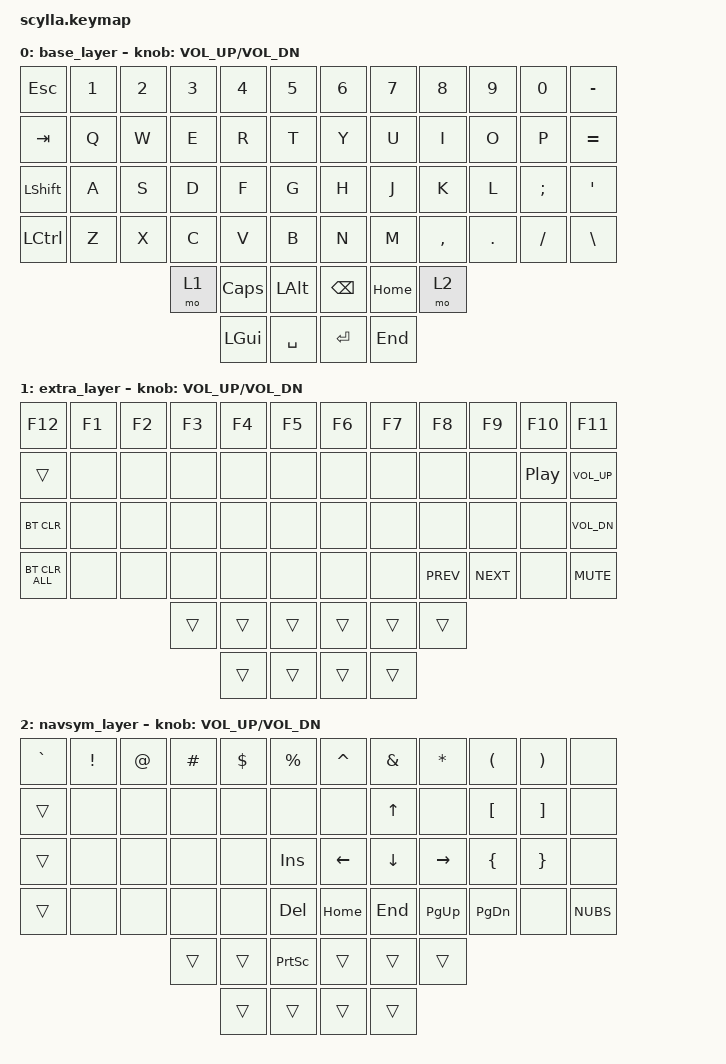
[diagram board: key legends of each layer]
/*
 * Scylla modified keymap.
 */

#include <behaviors.dtsi>
#include <dt-bindings/zmk/keys.h>
#include <dt-bindings/zmk/bt.h>
#include <dt-bindings/zmk/ext_power.h>

#define __NONE__ &none
#define _TRANSP_ &trans

/ {
    keymap {
        compatible = "zmk,keymap";


// □ = no key assigned
// ○ = inherited key
// ■ = layer being pressed

        base_layer {
// .-----------------------------------------.                                  .-----------------------------------------.
// | Esc  |   1  |   2  |   3  |   4  |   5  |                                  |   6  |   7  |   8  |   9  |   0  |  -_  |
// |------+------+------+------+------+------|                                  |------+------+------+------+------+------|
// | Tab  |   Q  |   W  |   E  |   R  |   T  |                                  |   Y  |   U  |   I  |   O  |   P  |  =+  |
// |------+------+------+------+------+------|                                  |------+------+------+------+------+------|
// | Shft |   A  |   S  |   D  |   F  |   G  |                                  |   H  |   J  |   K  |   L  |  ;:  |  '"  |
// |------+------+------+------+------+------|                                  |------+------+------+------+------+------|
// | Ctrl |   Z  |   X  |   C  |   V  |   B  |                                  |   N  |   M  |  <,  |  .>  |  /?  |  \|  |
// '-----------------------------------------/                                  \-----------------------------------------'
//                                   / LOWER /---------------.    .---------------\ RAISE \
//                                  /       /  Caps /  Alt  /      \ Bspc  \ Home  \       \
//                                 '-------/  Lock /       /        \       \       \-------'
//                                        /---------------/          \---------------\
//                                       /  Gui  / Space /            \ Enter \  End  \
//                                      /       /       /              \       \       \
//                                     '---------------'                '---------------'
            bindings = <
&kp ESC     &kp N1  &kp N2  &kp N3     &kp N4     &kp N5         &kp N6    &kp N7    &kp N8     &kp N9   &kp N0    &kp MINUS
&kp TAB     &kp Q   &kp W   &kp E      &kp R      &kp T          &kp Y     &kp U     &kp I      &kp O    &kp P     &kp EQUAL
&kp LSHFT   &kp A   &kp S   &kp D      &kp F      &kp G          &kp H     &kp J     &kp K      &kp L    &kp SEMI  &kp SQT
&kp LCTRL   &kp Z   &kp X   &kp C      &kp V      &kp B          &kp N     &kp M     &kp COMMA  &kp DOT  &kp FSLH  &kp BSLH
                            &mo 1      &kp CAPS   &kp LALT       &kp BSPC  &kp HOME  &mo 2
                                       &kp LGUI   &kp SPACE      &kp RET   &kp END
            >;

            sensor-bindings = <&inc_dec_kp C_VOL_UP C_VOL_DN>;
        };

        extra_layer {
// .-----------------------------------------.                                  .-----------------------------------------.
// |  F12 |  F1  |  F2  |  F3  |  F4  |  F5  |                                  |  F6  |  F7  |  F8  |  F9  |  F10 |  F11 |
// |------+------+------+------+------+------|                                  |------+------+------+------+------+------|
// |   ○  |   □  |   □  |   □  |   □  |   □  |                                  |   □  |   □  |   □  |   □  | Play | VoUp |
// |------+------+------+------+------+------|                                  |------+------+------+------+------+------|
// |BT_CLR|   □  |   □  |   □  |   □  |   □  |                                  |   □  |   □  |   □  |   □  |   □  | VoDn |
// |------+------+------+------+------+------|                                  |------+------+------+------+------+------|
// |BTCLRA|   □  |   □  |   □  |   □  |   □  |                                  |   □  |   □  | Prev | Next |   □  | Mute |
// '-----------------------------------------/                                  \-----------------------------------------'
//                                   /   ■   /---------------.    .---------------\   □   \
//                                  /       /   ○   /   ○   /      \   ○   \   ○   \       \
//                                 '-------/       /       /        \       \       \-------'
//                                        /---------------/          \---------------\
//                                       /   ○   /   ○   /            \   ○   \   ○   \
//                                      /       /       /              \       \       \
//                                     '---------------'                '---------------'
            bindings = <
&kp F12     &kp F1    &kp F2    &kp F3     &kp F4     &kp F5              &kp F6    &kp F7    &kp F8      &kp F9      &kp F10   &kp F11
_TRANSP_        __NONE__  __NONE__  __NONE__   __NONE__   __NONE__        __NONE__  __NONE__  __NONE__    __NONE__    &kp C_PP  &kp C_VOL_UP
&bt BT_CLR      __NONE__  __NONE__  __NONE__   __NONE__   __NONE__        __NONE__  __NONE__  __NONE__    __NONE__    __NONE__  &kp C_VOL_DN
&bt BT_CLR_ALL  __NONE__  __NONE__  __NONE__   __NONE__   __NONE__        __NONE__  __NONE__  &kp C_PREV  &kp C_NEXT  __NONE__  &kp C_MUTE 
                                    _TRANSP_   _TRANSP_   _TRANSP_        _TRANSP_  _TRANSP_  _TRANSP_ 
                                               _TRANSP_   _TRANSP_        _TRANSP_  _TRANSP_ 
            >;

            sensor-bindings = <&inc_dec_kp C_VOL_UP C_VOL_DN>;
        };

        navsym_layer {
// .-----------------------------------------.                                  .-----------------------------------------.
// |  `~  |   !  |   @  |   #  |   $  |   %  |                                  |   ^  |   &  |   *  |   (  |  )   |   □  |
// |------+------+------+------+------+------|                                  |------+------+------+------+------+------|
// |   ○  |   □  |   □  |   □  |   □  |   □  |                                  |   □  |  Up  |   □  |  {[  |  ]}  |   □  |
// |------+------+------+------+------+------|                                  |------+------+------+------+------+------|
// |   ○  |   □  |   □  |   □  |   □  |  Ins |                                  | Left | Down | Rght |   {  |  }   |   □  |
// |------+------+------+------+------+------|                                  |------+------+------+------+------+------|
// |   ○  |   □  |   □  |   □  |   □  |  Del |                                  | Home |  End | PgUp | PgDn |   □  |  \|  |
// '-----------------------------------------/                                  \-----------------------------------------'
//                                   /   □   /---------------.    .---------------\   ■   \
//                                  /       /   ○   / PrSc  /      \   ○   \   ○   \       \
//                                 '-------/       /       /        \       \       \-------'
//                                        /---------------/          \---------------\
//                                       /   ○   /   ○   /            \   ○   \   ○   \
//                                      /       /       /              \       \       \
//                                     '---------------'                '---------------'
            bindings = <
&kp GRAVE  &kp EXCL  &kp AT    &kp HASH   &kp DLLR  &kp PRCNT       &kp CARET  &kp AMPS  &kp ASTRK  &kp LPAR   &kp RPAR  __NONE__
_TRANSP_   __NONE__  __NONE__  __NONE__  __NONE__   __NONE__        __NONE__   &kp UP    __NONE__   &kp LBKT   &kp RBKT  __NONE__
_TRANSP_   __NONE__  __NONE__  __NONE__  __NONE__   &kp INS         &kp LEFT   &kp DOWN  &kp RIGHT  &kp LBRC   &kp RBRC  __NONE__
_TRANSP_   __NONE__  __NONE__  __NONE__  __NONE__   &kp DEL         &kp HOME   &kp END   &kp PG_UP  &kp PG_DN  __NONE__  &kp NUBS
                               _TRANSP_  _TRANSP_   &kp PSCRN       _TRANSP_   _TRANSP_  _TRANSP_ 
                                         _TRANSP_   _TRANSP_        _TRANSP_   _TRANSP_
            >;

            sensor-bindings = <&inc_dec_kp C_VOL_UP C_VOL_DN>;
        };
    };
};
